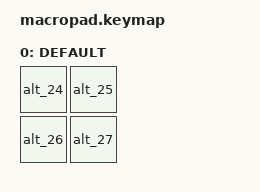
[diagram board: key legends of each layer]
/*
 * Copyright (c) 2024 Joshua Wiens
 * SPDX-License-Identifier: MIT
 */

#include <behaviors.dtsi>
#include <dt-bindings/zmk/keys.h>
#include <dt-bindings/zmk/bt.h>

/ {
    macros {
        alt_24: alt_24 {
            compatible = "zmk,behavior-macro";
            label = "ALT_24";
            #binding-cells = <0>;
            tap-ms = <10>;  // Very fast taps
            wait-ms = <10>; // Minimal wait
            bindings = <
                &macro_press &kp LALT
                &macro_tap &kp KP_N2 &kp KP_N4
                &macro_release &kp LALT
            >;
        };
        
        alt_25: alt_25 {
            compatible = "zmk,behavior-macro";
            label = "ALT_25";
            #binding-cells = <0>;
            tap-ms = <10>;
            wait-ms = <10>;
            bindings = <
                &macro_press &kp LALT
                &macro_tap &kp KP_N2 &kp KP_N5
                &macro_release &kp LALT
            >;
        };
        
        alt_26: alt_26 {
            compatible = "zmk,behavior-macro";
            label = "ALT_26";
            #binding-cells = <0>;
            tap-ms = <10>;
            wait-ms = <10>;
            bindings = <
                &macro_press &kp LALT
                &macro_tap &kp KP_N2 &kp KP_N6
                &macro_release &kp LALT
            >;
        };
        
        alt_27: alt_27 {
            compatible = "zmk,behavior-macro";
            label = "ALT_27";
            #binding-cells = <0>;
            tap-ms = <10>;
            wait-ms = <10>;
            bindings = <
                &macro_press &kp LALT
                &macro_tap &kp KP_N2 &kp KP_N7
                &macro_release &kp LALT
            >;
        };
    };

    keymap {
        compatible = "zmk,keymap";
        
        default_layer {
            label = "DEFAULT";
            bindings = <
                &alt_24   &alt_25
                &alt_26   &alt_27
            >;
        };
    };
};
